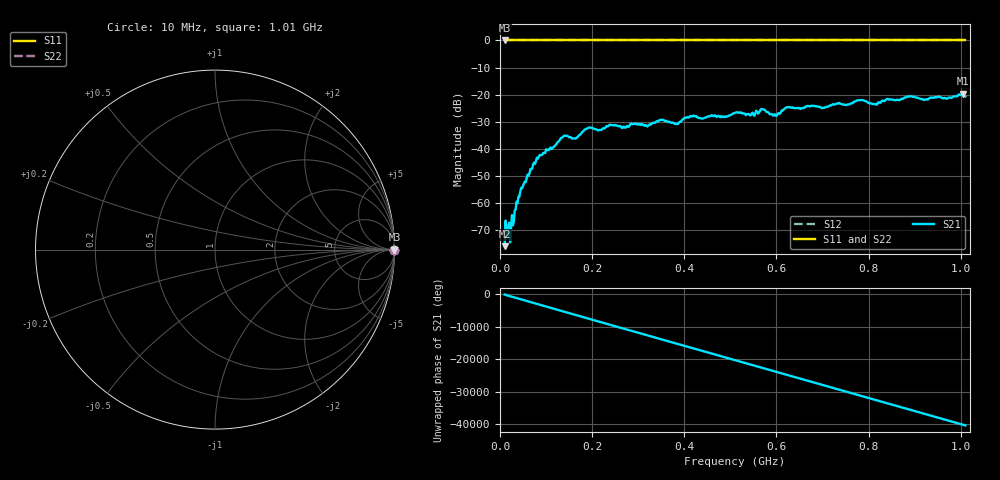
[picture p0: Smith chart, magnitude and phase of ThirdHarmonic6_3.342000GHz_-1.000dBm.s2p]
! 8/17/2025 10:31:39 AM
! C:\ANRITSUVNA\TEMP\TEMP.S2P
! CHANNEL.1
! TR.MEASUREMENT
! RAW.DATA
! RF.CORRECTION.OFF
! AVERAGING.OFF
! IF.BANDWIDTH: 5KHZ
! SWEEPTYPE:  FREQ.SWEEP(Linear)
! Reference Plane Port Info
! PORT:  PORT1  PORT2
! DISTANCE:  0  m  0  m
! TIME:  0  s  0  s
! PHASE.OFFSET:  0  deg.  0  deg.
! LOSS:  0  dB  0  dB
! REF.LOSS:  0  dB  0  dB
! REF.FREQ:  0  Hz  0  Hz
! Power Info
! POWER:  -20  dBm  -20  dBm
! EFF.POWER:  -20  dBm  -20  dBm
! SOURCE.ATTEN:  0  dB  0  dB
! TEST.ATTEN:  0  dB  0  dB
# GHZ S RI R 50.0
! FREQ.GHZ  S11RE  S11IM  S21RE  S21IM  S12RE  S12IM  S22RE  S22IM
!; PortSelection: Port_12
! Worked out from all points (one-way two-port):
!   501 points, 10 MHz to 1.01 GHz, reference 50 ohm
!   highest |S21| = -19.69 dB at 1.004 GHz (marker M1); lowest = -75.9 dB at 10 MHz (marker M2)
!   lowest |S11| = 0.0 dB at 10 MHz (marker M3)
!   |S11| at or under -10 dB: nowhere
!   |S22| runs from 0.0 to 0.0 dB; largest |S21 - S12| = 1.1
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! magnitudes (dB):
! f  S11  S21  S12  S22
! 10 MHz  0.0  -75.9  0.0  0.0
! 16 MHz  0.0  -72.5  0.0  0.0
! 18 MHz  0.0  -68.3  0.0  0.0
! 26 MHz  0.0  -64.5  0.0  0.0
! 36 MHz  0.0  -59.5  0.0  0.0
! 48 MHz  0.0  -54.6  0.0  0.0
! 82 MHz  0.0  -43.7  0.0  0.0
! 136 MHz  0.0  -35.7  0.0  0.0
! 162 MHz  0.0  -36.2  0.0  0.0
! 178 MHz  0.0  -33.9  0.0  0.0
! 344 MHz  0.0  -29.8  0.0  0.0
! 382 MHz  0.0  -30.8  0.0  0.0
! 416 MHz  0.0  -28.1  0.0  0.0
! 510 MHz  0.0  -26.7  0.0  0.0
! 548 MHz  0.0  -26.7  0.0  0.0
! 570 MHz  0.0  -25.4  0.0  0.0
! 596 MHz  0.0  -27.2  0.0  0.0
! 624 MHz  0.0  -24.6  0.0  0.0
! 678 MHz  0.0  -24.1  0.0  0.0
! 844 MHz  0.0  -21.8  0.0  0.0
! 1.004 GHz  0.0  -19.7  0.0  0.0
! 1.01 GHz  0.0  -20.7  0.0  0.0
